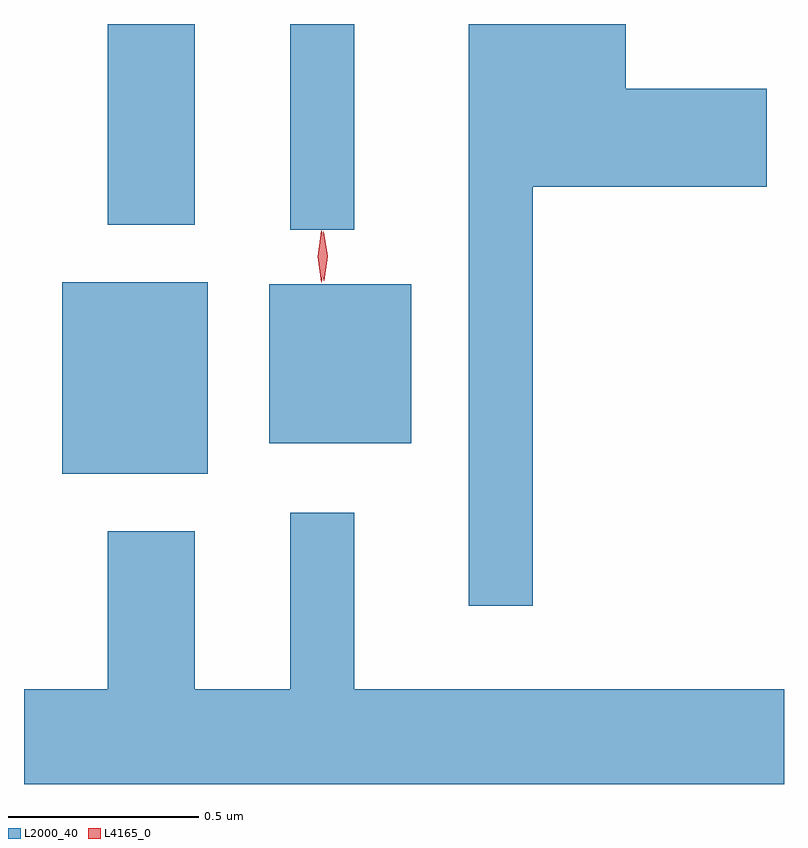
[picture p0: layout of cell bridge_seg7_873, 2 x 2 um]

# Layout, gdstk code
import gdstk
lib = gdstk.Library(unit=1e-6, precision=1e-09)
def R(c, l, rs):  # rectangles x0, y0, x1, y1
    for r in rs: c.add(gdstk.rectangle(r[:2], r[2:], *l))
def P(c, l, *ps):  # polygons
    for p in ps: c.add(gdstk.Polygon(p, *l))
L2000_40 = (2000, 40)
L4165_0 = (4165, 0)

bridge_seg7_873 = lib.new_cell('bridge_seg7_873')
R(bridge_seg7_873, L2000_40, [(271.361,1690.731,271.744,1691.234), (271.906,1690.811,272.279,1691.229), (271.961,1691.373,272.129,1691.914), (271.481,1691.386,271.709,1691.914)])
P(bridge_seg7_873, L2000_40, [(272.599,1691.486),(273.214,1691.486),(273.214,1691.744),(272.844,1691.744),(272.844,1691.914),(272.431,1691.914),(272.431,1690.383),(272.599,1690.383)],
  [(273.26,1690.164),(272.129,1690.164),(272.129,1690.628),(271.961,1690.628),(271.961,1690.164),(271.709,1690.164),(271.709,1690.579),(271.481,1690.579),(271.481,1690.164),(271.26,1690.164),(271.26,1689.914),(273.26,1689.914)])
P(bridge_seg7_873, L4165_0, [(272.042,1691.234),(272.033,1691.302),(272.042,1691.37),(272.043,1691.37),(272.043,1691.37),(272.053,1691.302),(272.043,1691.234),(272.043,1691.234)],
  [(272.049,1691.238),(272.049,1691.238),(272.039,1691.302),(272.048,1691.367),(272.048,1691.367),(272.049,1691.367),(272.059,1691.303),(272.05,1691.238)])

lib.write_gds('bridge_seg7_873.gds')
